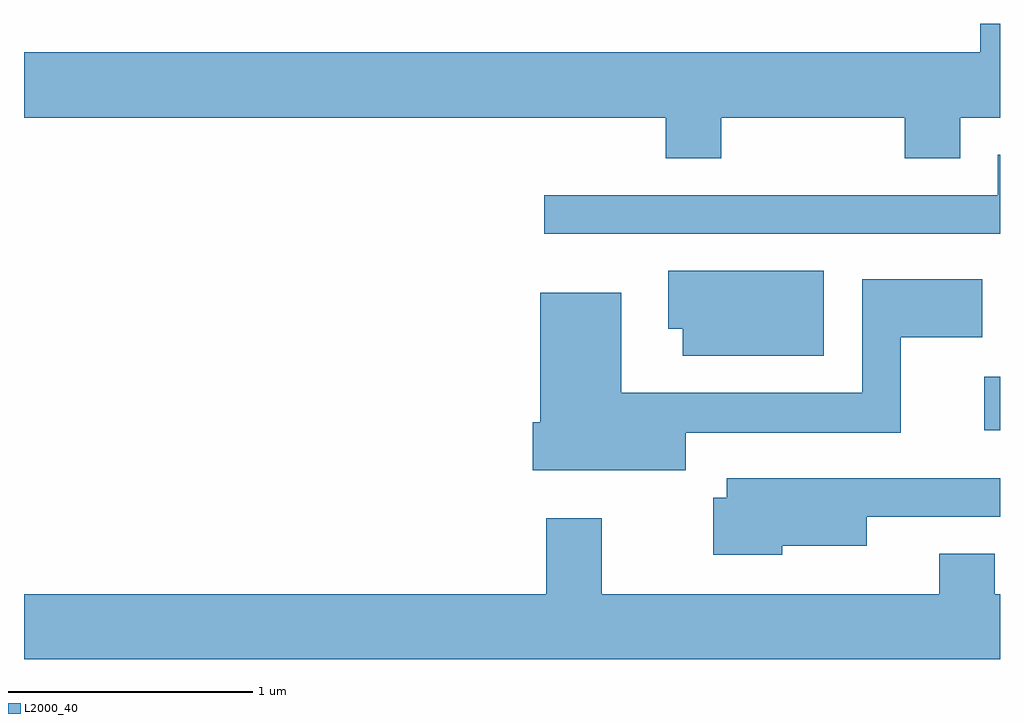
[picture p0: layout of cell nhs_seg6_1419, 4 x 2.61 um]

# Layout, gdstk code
import gdstk
lib = gdstk.Library(unit=1e-6, precision=1e-09)
def R(c, l, rs):  # rectangles x0, y0, x1, y1
    for r in rs: c.add(gdstk.rectangle(r[:2], r[2:], *l))
def P(c, l, *ps):  # polygons
    for p in ps: c.add(gdstk.Polygon(p, *l))
L2000_40 = (2000, 40)

nhs_seg6_1419 = lib.new_cell('nhs_seg6_1419')
R(nhs_seg6_1419, L2000_40, [(231.546,1586.496,231.611,1586.714)])
P(nhs_seg6_1419, L2000_40, [(230.469,1587.776),(231.221,1587.776),(231.221,1587.611),(231.449,1587.611),(231.449,1587.776),(231.611,1587.776),(231.611,1588.162),(231.531,1588.162),(231.531,1588.044),(227.611,1588.044),(227.611,1587.776),(230.241,1587.776),(230.241,1587.611),(230.469,1587.611)],
  [(231.611,1587.624),(231.601,1587.624),(231.601,1587.459),(229.743,1587.459),(229.743,1587.301),(231.611,1587.301)],
  [(230.889,1587.149),(230.251,1587.149),(230.251,1586.911),(230.311,1586.911),(230.311,1586.801),(230.889,1586.801)],
  [(230.324,1586.486),(231.204,1586.486),(231.204,1586.876),(231.539,1586.876),(231.539,1587.114),(231.046,1587.114),(231.046,1586.649),(230.059,1586.649),(230.059,1587.059),(229.726,1587.059),(229.726,1586.529),(229.696,1586.529),(229.696,1586.331),(230.324,1586.331)],
  [(230.719,1586.021),(231.064,1586.021),(231.064,1586.141),(231.611,1586.141),(231.611,1586.299),(230.491,1586.299),(230.491,1586.219),(230.436,1586.219),(230.436,1585.986),(230.719,1585.986)],
  [(231.611,1585.824),(231.589,1585.824),(231.589,1585.989),(231.361,1585.989),(231.361,1585.824),(229.979,1585.824),(229.979,1586.134),(229.751,1586.134),(229.751,1585.824),(227.611,1585.824),(227.611,1585.556),(231.611,1585.556)])

lib.write_gds('nhs_seg6_1419.gds')
